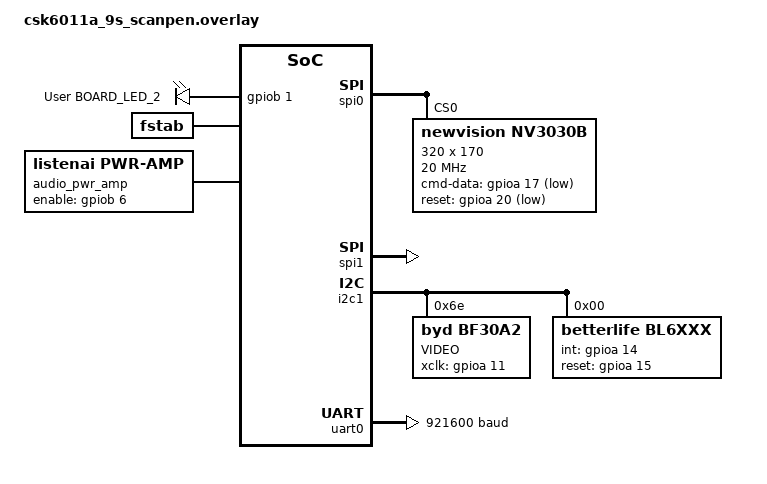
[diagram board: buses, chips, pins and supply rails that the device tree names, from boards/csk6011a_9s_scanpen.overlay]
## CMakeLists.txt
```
cmake_minimum_required(VERSION 3.20.0)
# Copyright (c) 2018 Nordic Semiconductor ASA
# Copyright (c) 2019 Linaro Limited
#
# SPDX-License-Identifier: Apache-2.0
#
#set(ZEPHYR_EXTRA_MODULES $ENV{ZEPHYR_BASE}/../modules/lib/sof_host)

if("${BOARD}" STREQUAL "csk6_tester" OR "${BOARD}" STREQUAL "csk6002_c3_nano"  OR "${BOARD}" STREQUAL "csk6002_9s_nano" OR "${BOARD}" STREQUAL "csk6012_9s_scanpen")
  set(BUILD_DSP_FIRMWARE OFF)
  find_package(Zephyr REQUIRED HINTS $ENV{ZEPHYR_BASE})
  message(INFO " ${BOARD} compile as Master in this sample")
  target_sources(app PRIVATE src/main.c)
  add_subdirectory(./src)
  zephyr_compile_options(-g3 -gdwarf-2)
  add_subdirectory(lisa_hal)
  add_subdirectory(scanpen_lisa/lisa_os)
  add_subdirectory(scanpen_lisa/lisa_net)
  # add_subdirectory(scanpen_lisa/unit_test)
  add_subdirectory(scanpen_lisa/scanpen_sdk)
  # add_subdirectory(scanpen_lisa/scanpen_app)
  # zephyr_compile_options(-fno-short-enums)
  #zephyr_ld_options(-fno-short-enums)
endif()


if(BUILD_DSP_FIRMWARE)

  set(REMOTE_ZEPHYR_DIR ${CMAKE_CURRENT_BINARY_DIR}/sof-dsp-prefix/src/sof-dsp-build/zephyr)

  if("${BOARD}" STREQUAL "csk6_tester" OR "${BOARD}" STREQUAL "csk6002_c3_nano"  OR "${BOARD}" STREQUAL "csk6002_9s_nano" OR "${BOARD}" STREQUAL "csk6012_9s_scanpen")
    set(BOARD_REMOTE "ls_adsp_csk6")
  else()
    message(FATAL_ERROR "${BOARD} was not supported for this sample")
  endif()

  project(sof-dsp)

  enable_language(C ASM)

  #target_sources(app PRIVATE src/load_fw.c src/mem_image_store.c src/platform_info.c src/zynqmp_csk6_rproc_example.c )

  include(ExternalProject)

  set(ENV{XCC_USE_CLANG} "1")
  set(ENV{ZEPHYR_TOOLCHAIN_VARIANT} "xcc")

  ExternalProject_Add(
    sof_remote
    SOURCE_DIR ${APPLICATION_SOURCE_DIR}/remote
    INSTALL_COMMAND ""      # This particular build system has no install command
    CMAKE_CACHE_ARGS -DBOARD:STRING=${BOARD_REMOTE}
    BUILD_BYPRODUCTS "${REMOTE_ZEPHYR_DIR}/${KERNEL_BIN_NAME}"
    # NB: Do we need to pass on more CMake variables?
    BUILD_ALWAYS True
  )

  unset(ENV{XCC_USE_CLANG})
  unset(ENV{ZEPHYR_TOOLCHAIN_VARIANT})
  target_include_directories(app PRIVATE ${CMAKE_CURRENT_SOURCE_DIR} ./src) 

endif()

zephyr_code_relocate($ENV{ZEPHYR_BASE}/drivers/dma/dma_csk6.c ITCM_TEXT)
zephyr_code_relocate($ENV{ZEPHYR_BASE}/../modules/hal/listenai/csk6/drivers/cm33/dma.c ITCM_TEXT)
zephyr_code_relocate($ENV{ZEPHYR_BASE}/drivers/video/bf30a2.c ITCM_TEXT)
```

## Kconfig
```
# Private config options for load sencond core firmware app

# SPDX-License-Identifier: Apache-2.0

# Workaround for not being able to have commas in macro arguments

DT_CHOSEN_Z_FLASH_SYSFS_STORAGE := zephyr,flash_sysfs_storage
DT_CHOSEN_Z_FLASH_CONTROLLER := zephyr,flash_controller
DT_CHOSEN_Z_INN_FLASH := zephyr,flash
DT_CHOSEN_Z_IPC_SHM := zephyr,ipc_shm
DT_CHOSEN_Z_PSRAM_AP := zephyr,psramap

if DISK_DRIVER_FLASH

	config DISK_FLASH_START
		default "$(dt_chosen_reg_addr_hex,$(DT_CHOSEN_Z_FLASH_SYSFS_STORAGE))"

	config DISK_FLASH_DEV_NAME
		default "$(dt_chosen_label,$(DT_CHOSEN_Z_FLASH_CONTROLLER))"

	config DISK_VOLUME_SIZE
		default "$(dt_chosen_reg_size_hex,$(DT_CHOSEN_Z_FLASH_SYSFS_STORAGE))"


	config DISK_FLASH_MAX_RW_SIZE
		default 4096
		#default $(dt_node_int_prop_hex,$(DT_CHOSEN_Z_INN_FLASH),erase-block-size)

	config DISK_FLASH_ERASE_ALIGNMENT
		default 0x1000
		#default "$(dt_node_int_prop_hex,$(DT_CHOSEN_Z_INN_FLASH),erase-block-size)"

	config DISK_ERASE_BLOCK_SIZE
		default 0x1000
		#default "$(dt_node_int_prop_hex,$(DT_CHOSEN_Z_INN_FLASH),erase-block-size)"
endif


#SOF IPC MEMORY CONFIG
config SOF_IPC_SHM_BASE_ADDRESS
	default "$(dt_chosen_reg_addr_hex,$(DT_CHOSEN_Z_IPC_SHM))"

config SOF_IPC_SHM_SIZE
	default "$(dt_chosen_reg_size_hex,$(DT_CHOSEN_Z_IPC_SHM))"
	help
	  This option specifies size of the memory region to be used
	  for the SOF IPC shared memory

config PSRAMAP_BASE_ADDRESS
	hex 
	default "$(dt_chosen_reg_addr_hex,$(DT_CHOSEN_Z_PSRAM_AP))"

config PSRAMAP_SIZE
	hex
	default "$(dt_chosen_reg_size_hex,$(DT_CHOSEN_Z_PSRAM_AP))"
	
menu "Example Configuration"

    config EXAMPLE_WIFI_SSID
        string "WiFi SSID"
        default "wifi_ssid"

    config EXAMPLE_WIFI_PASSWORD
        string "WiFi password"
        default "wifi_password"

endmenu


config LISA_HEAP_ARENA_SIZE
	int "Size of the lisa mem malloc arena"
	default 0
	help
	  Indicate the size in bytes of the memory arena used for
	  lisa_mem's malloc() implementation.

source "Kconfig.zephyr"
```

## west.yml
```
manifest:
  remotes:
    - name: listenai
      url-base: https://cloud.listenai.com/scanpen/csk6/sdk
  projects:
    - name: zephyr
      remote: listenai
      revision: 28948c137231ab44253a2e729aa4dbc6e8312f28
      clone-depth: 1
      path: zephyr
      import: true
    - name: lisa_hal_offline
      remote: listenai
      revision: 8da4e160b43e1f5b63ab4238217c529f7e375c9b
      path: app/lisa_hal
    - name: scanpen_lisa 
      remote: listenai
      revision: 846b871bfbc017d22d0a4b19ea70b61c978e8d3b
      path: app/scanpen_lisa
    
```

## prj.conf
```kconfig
CONFIG_PRINTK=y
CONFIG_DEBUG=y
CONFIG_LOG=y
CONFIG_LOG_MODE_IMMEDIATE=y
#CONFIG_LOG_BUFFER_SIZE=1024
# CONFIG_LOG_STRDUP_MAX_STRING=128
# CONFIG_LOG_STRDUP_BUF_COUNT=64
CONFIG_LOG_DETECT_MISSED_STRDUP=n
CONFIG_LOG_BACKEND_SHOW_COLOR=y
CONFIG_LOG_BACKEND_FORMAT_TIMESTAMP=y
CONFIG_LOG_BACKEND_UART=y
CONFIG_LOG_BACKEND_UART_OUTPUT_TEXT=y
CONFIG_GPIO=y
CONFIG_MAIN_STACK_SIZE=4096
CONFIG_HEAP_MEM_POOL_SIZE=120000

#libc配置
CONFIG_NEWLIB_LIBC_FLOAT_PRINTF=y
CONFIG_NEWLIB_LIBC=y
CONFIG_NEWLIB_LIBC_FLOAT_SCANF=y

#psram init 
CONFIG_CSK6_PSRAM=y
CONFIG_TEST_RANDOM_GENERATOR=y

#file system
#CONFIG_DISK_DRIVER_FLASH=y
CONFIG_FLASH=y
CONFIG_FLASH_MAP=y
CONFIG_FILE_SYSTEM=y
#CONFIG_FS_FATFS_CODEPAGE=936
#CONFIG_FS_FATFS_LFN=y
#CONFIG_FS_FATFS_MAX_LFN=255
#CONFIG_FS_FATFS_LFN_MODE_BSS=y


#usb mass storage
#CONFIG_USB_DEVICE_STACK=y
#CONFIG_USB_DEVICE_PRODUCT="Zephyr DFU sample"
#CONFIG_USB_MASS_STORAGE=y
#CONFIG_MASS_STORAGE_STACK_SIZE=4096
#CONFIG_MASS_STORAGE_DISK_NAME="NAND"
CONFIG_SYSTEM_WORKQUEUE_STACK_SIZE=8192

#CONFIG_USB_DRIVER_LOG_LEVEL_ERR=y
#CONFIG_USB_DEVICE_LOG_LEVEL_ERR=y
#CONFIG_USB_MASS_STORAGE_LOG_LEVEL_ERR=y
#CONFIG_USB_DRIVER_LOG_LEVEL_ERR=y

#usb cdc
#CONFIG_UART_LINE_CTRL=y
#CONFIG_USB_CDC_ACM_RINGBUF_SIZE=4096
#CONFIG_USB_CDC_ACM_LOG_LEVEL_ERR=y

#usb dfu
# CONFIG_USB_DFU_CLASS=y
# CONFIG_IMG_MANAGER=y
# CONFIG_IMG_BLOCK_BUF_SIZE=4096
#CONFIG_BOOTLOADER_MCUBOOT=y

#Fixd for WinUSB driver install.
#CONFIG_USB_DEVICE_VID=0x2FE3
#CONFIG_USB_DEVICE_PID=0x200

#sof
CONFIG_SOF_HOST=y
CONFIG_AVF_DEBUG_LEVEL=2
CONFIG_AVF_STREAM_SVR_DEBUG=n
#CONFIG_AVF_LOG_LEVEL_ERR=y
#CONFIG_AVF_USE_FS_FATFS=y
#CONFIG_FAT_FILESYSTEM_ELM=y
CONFIG_AVF_USE_FS_LITTLEFS=y
CONFIG_FILE_SYSTEM_LITTLEFS=y
CONFIG_POSIX_MAX_FDS=16
CONFIG_AVF_MODULES_VIDEO_CAPTURE=y
CONFIG_AVF_MODULES_ALG_OCR=y
CONFIG_AVF_MODULES_ALG_TTS=y
CONFIG_AVF_MODULES_ALG_TRANSLATE=y

CONFIG_AVF_DSP_XIP=y
CONFIG_AVF_DSP_RUN_ADDRESS=0x68460000
#sof example usr lisa heap 96k
CONFIG_LISA_HEAP_ARENA_SIZE=820224
#CONFIG_AVF_EXAMPLE=y
#CONFIG_AVF_SHELL=y

#IPM
CONFIG_IPM=y

#shell
CONFIG_SHELL_ARGC_MAX=16
CONFIG_SHELL=y

#network-wifi
CONFIG_WIFI=n
CONFIG_CSK_WIFI_XR819S=n
CONFIG_CSK_WIFI_STATION=y
CONFIG_NET_L2_ETHERNET=y
#networking
CONFIG_NETWORKING=y
CONFIG_NET_DHCPV4=y
CONFIG_NET_IPV4=y
CONFIG_NET_TCP=y
CONFIG_NET_SOCKETS=y
CONFIG_NET_SOCKETS_CONNECT_TIMEOUT=3000
CONFIG_NET_SOCKETS_POSIX_NAMES=y
CONFIG_NET_MGMT=y
CONFIG_NET_MGMT_EVENT=y
CONFIG_NET_MGMT_EVENT_STACK_SIZE=2048
CONFIG_NET_TCP_WORKQ_STACK_SIZE=2048
CONFIG_NET_RX_STACK_SIZE=2048
CONFIG_NET_TX_STACK_SIZE=2048
CONFIG_NET_PKT_RX_COUNT=16
CONFIG_NET_PKT_TX_COUNT=16
CONFIG_NET_BUF_RX_COUNT=32
CONFIG_NET_BUF_TX_COUNT=32
CONFIG_NET_CONTEXT_NET_PKT_POOL=y

CONFIG_DNS_RESOLVER=y
CONFIG_DNS_SERVER_IP_ADDRESSES=y
CONFIG_DNS_SERVER1="8.8.8.8"

CONFIG_SYSTEM_WORKQUEUE_PRIORITY=-1
CONFIG_INIT_STACKS=y

# Network debug config
# CONFIG_NET_LOG=y

# HTTP & Websocket
CONFIG_HTTP_CLIENT=y
CONFIG_WEBSOCKET_CLIENT=n

# TLS configuration
CONFIG_MBEDTLS=y
CONFIG_MBEDTLS_BUILTIN=y
CONFIG_MBEDTLS_ENABLE_HEAP=y
CONFIG_MBEDTLS_HEAP_SIZE=4096
CONFIG_MBEDTLS_SSL_MAX_CONTENT_LEN=2048

# to enable TLS
CONFIG_NET_SOCKETS_SOCKOPT_TLS=y
CONFIG_NET_SOCKETS_TLS_MAX_CONTEXTS=10

# ListenAI moudle support
# zephyr System abstraction layer for other rtos, like freertos
CONFIG_ZPORT_SAL=y
# sal port to esp
CONFIG_ZPORT_ESP_TCP=y
CONFIG_ZPORT_ESP_HTTP=y
CONFIG_ZPORT_ESP_WS=y
CONFIG_ZPORT_ESP_ADF=y
# esp http & websocket
CONFIG_ZE_TCP_TRANSPORT=y
CONFIG_ZE_TCP_TRANSPORT_ENABLE_SSL=y
CONFIG_ZE_HTTP_CLIENT=y
CONFIG_ZE_HTTP_CLIENT_ENABLE_HTTPS=y
CONFIG_ZE_WEBSOCKET_CLIENT=y
CONFIG_BASE64=y
# esp adf - pipeline
CONFIG_ZE_ADF=y
CONFIG_ZE_ADF_HTTP_STREAM_ENABLE=y
CONFIG_ZE_ADF_FS_STREAM_ENABLE=y
CONFIG_ZE_ADF_MEMORY_STREAM_ENABLE=y
CONFIG_ZE_ADF_AVF_STREAM_ENABLE=y
# lisa player
#CONFIG_LISA_PLAYER=y
#CONFIG_LISA_PLAYER_AUDIO_STRCASECMP_ENABLE=y

# Custom config for example
#CONFIG_LISA_PLAYER_SHELL_ENABLE=y
#CONFIG_LISA_PLAYER_SHELL_DEFINE_FILE="/NAND:/{{YOUR_FILE_NAME}}.wav"
# setup local http_server in ./temp/ folder:
# Linux: export LISA_ZEP_EXEC=1 && lisa zep exec python -m http.server 8080
# Windows: set LISA_ZEP_EXEC=1 && lisa zep exec python -m http.server 8080
# 打开 http://127.0.0.1:8080
#CONFIG_LISA_PLAYER_SHELL_DEFINE_URL="http://{{YOUR_PC_IP}}:8080/fdf7ea5d44626d0319e2fac116019d4af.wav"

# config wifi
CONFIG_EXAMPLE_WIFI_SSID="iflytek-yycs"
CONFIG_EXAMPLE_WIFI_PASSWORD="iflytekyuyin"


# Enable Testing

# shell: ze_http_client test_start
CONFIG_ZE_HTTP_CLIENT_TEST_SHELL=y

# shell: ze_websocket_client test_start
CONFIG_ZE_WEBSOCKET_CLIENT_TEST_SHELL=y
# websocket server test paltform: http://www.easyswoole.com/wstool.html
CONFIG_ZE_WEBSOCKET_CLIENT_TEST_URI="ws://82.157.123.54:9010/ajaxchattest"

#shell
CONFIG_SHELL_ARGC_MAX=16
CONFIG_SHELL=y

#cache
CONFIG_CACHE_MANAGEMENT=y

# mcumgr
CONFIG_MCUMGR=y
# Required by the `taskstat` command.
CONFIG_THREAD_MONITOR=y
# Enable statistics and statistic names.
CONFIG_STATS=y
CONFIG_STATS_NAMES=y
# Enable most core commands.
# CONFIG_MCUMGR_CMD_IMG_MGMT=y
CONFIG_MCUMGR_CMD_OS_MGMT=y
CONFIG_MCUMGR_CMD_STAT_MGMT=y
CONFIG_MCUMGR_CMD_FS_MGMT=y
# Enable the shell mcumgr transport.
CONFIG_MCUMGR_SMP_SHELL=y
CONFIG_SHELL_LOG_BACKEND=n
# Enable the UDP mcumgr transports.
# CONFIG_MCUMGR_SMP_UDP=y
# CONFIG_MCUMGR_SMP_UDP_IPV4=y
# CONFIG_MCUMGR_SMP_UDP_IPV6=y
# CONFIG_NET_CONNECTION_MANAGER=y
# CONFIG_NET_BUF_USER_DATA_SIZE=24


# video
CONFIG_SPI=y
CONFIG_I2C=y
CONFIG_DMA=y
CONFIG_PWM=y
CONFIG_VIDEO=y
CONFIG_VIDEO_BF30A2=y
# frame datas will be output to sharemem.
# CONFIG_BF30A2_UNUSED_DEQUEUE=y
# CONFIG_BF30A2_DECODE_TEST=y
CONFIG_VIDEO_BUFFER_POOL_SZ_MAX=25600
# CONFIG_SYS_CLOCK_TICKS_PER_SEC=1000
CONFIG_SCHED_MULTIQ=y
CONFIG_ZERO_LATENCY_IRQS=y

CONFIG_SYS_CLOCK_TICKS_PER_SEC=1000
CONFIG_TICKLESS_KERNEL=n

#CONFIG_USB_DC_CSK6_THREAD_STACK_SIZE=1024


#CONFIG_KERNEL_MEM_POOL=y
#CONFIG_STDOUT_CONSOLE=n

CONFIG_VIDEO_BUFFER_POOL_SZ_MAX=25600
CONFIG_VIDEO_BUFFER_POOL_NUM_MAX=2
# CONFIG_VIDEO_CUSTOM_SECTION=y
# CONFIG_VIDEO_CUSTOM_SECTION_NAME=".psram_section"
CONFIG_CSK6_PSRAM=y

CONFIG_ASSERT=y
CONFIG_ASSERT_LEVEL=2

CONFIG_CODE_DATA_RELOCATION=y
# CONFIG_CODE_DATA_RELOCATION_SRAM=y

# CONFIG_THREAD_ANALYZER=y
# CONFIG_THREAD_ANALYZER_USE_PRINTK=y
# CONFIG_THREAD_ANALYZER_AUTO=y
# CONFIG_THREAD_ANALYZER_AUTO_INTERVAL=5
# CONFIG_THREAD_RUNTIME_STATS=y
# CONFIG_THREAD_NAME=y
CONFIG_ZERO_LATENCY_IRQS=y
CONFIG_SPIN_VALIDATE=y
CONFIG_DYNAMIC_INTERRUPTS=y
CONFIG_NOCACHE_MEMORY=y

# CONFIG_VIDEO_CUSTOM_SECTION=y
# CONFIG_VIDEO_CUSTOM_SECTION_NAME=".psram_section"
```

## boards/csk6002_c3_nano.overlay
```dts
/*
 * Copyright (c) 2021 listenai Intelligent Technology (anhui) Co., Ltd.
 *
 * SPDX-License-Identifier: Apache-2.0
 */
/delete-node/ &storage_partition;

/ {
	chosen {
		/*
		 * shared memory reserved for the inter-processor communication
		 */
		zephyr,ipc_shm = &sramx1;
		zephyr,ipc = &mailbox0;
		zephyr,flash_sysfs_storage = &filesystem_part;
		zephyr,flash_controller = &flash;
		zephyr,uart-mcumgr = &uart0;
		zephyr,lisa_heap = &psram_region1;
	};
	sramx1:memory@30700000{
		compatible = "mmio-sram";
		reg = <0x30700000 0x100000>;
	};
	psram_region1:memory@30600000{
		compatible = "mmio-sram";
		reg = <0x30600000 0x100000>;
	};
	fstab {
		compatible = "zephyr,fstab";
		lfs1: lfs1 {
			compatible = "zephyr,fstab,littlefs";
			mount-point = "/lfs1";
			partition = <&filesystem_part>;
			automount ;
			no-format;
			read-size = <16>;
			prog-size = <16>;
			cache-size = <64>;
			lookahead-size = <32>;
			block-cycles = <512>;
		};
	};

    pwmleds {
		compatible = "pwm-leds";
		green_pwm_led: green_pwm_led {
			pwms = <&pwm4 4 PWM_POLARITY_NORMAL>;
			label = "User BOARD_LED_2 - PWM0";
		};
	};

	gpio_keys {
user_button_0: button_0 {
				   label = "User SW0";
				   gpios = < &gpiob 0x5 0x0 >;
			   };
	};

};


&flash0 {
	partitions {
		compatible = "fixed-partitions";
#address-cells = <1>;
#size-cells = <1>;
filesystem_part: partition@160000 {
					 label = "filesystem";
					 reg = <0x160000 0x00600000>;
				 };
				 /*
				  * Reserve the final 640 KiB for file system partition
		 */
		storage_partition: partition@760000 {
			label = "storage";
			reg = <0x760000 0x00a0000>;
		};


	};
};

&zephyr_udc0 {
	cdc_acm_uart0 {
		compatible = "zephyr,cdc-acm-uart";
		label = "CDC_ACM_0";
	};
};

&gpt0 {
	status = "okay";

    pwm5: pwm5 {
        status = "disabled";
    };

	pwm4: pwm4 {
        pinmuxs = <&pinmuxa 4 11>;
        clock-prescaler = <1>;
        status = "okay";
    };
};

&spi0 {
    status = "okay";
    spi-max-frequency = <25000000>;
};

&spi1 {
    status = "disabled";
};

&i2c0 {
        status = "okay";
        pinmuxs = <&pinmuxb 0 8>, <&pinmuxb 1 8>;
        pinmux-names = "SCL", "SDA";

        bf30a2: bf30a2@6e {
            compatible = "byd,bf30a2";
            status = "okay";
            label = "VIDEO";
            reg = <0x6e>;
            pd-gpios = <&gpioa 1 0>;
            pwr-gpios = <&gpioa 5 0>;
            product-id = <0x3b02>;
            spi = <&spi0>;
            xclk-pwm = <&pwm4>;
            xclk-freq = <12500>;
            csk6-spec;
    };
};

&i2c1 {
    status = "disabled";
};

&uart0 {
    current-speed = <115200>;
};

&uart1 {
    status = "disabled";
    current-speed = <115200>;
	pinmuxs = < &pinmuxa 8 3>, < &pinmuxa 9 3>;
};
```

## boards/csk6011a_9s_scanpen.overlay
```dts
/ {
	chosen {
		/*
		 * shared memory reserved for the inter-processor communication
		 */
		zephyr,ipc_shm = &psram_share;
		zephyr,ipc = &mailbox0;
		zephyr,flash_sysfs_storage = &filesystem_part;
		zephyr,flash_controller = &flash;
		zephyr,uart-mcumgr = &uart0;
		zephyr,psramap = &psram_ap;
		/*
		 *zephyr,code-partition = &slot0_partition;
		 */
		/*
		 *zephyr,lisa_heap = &psram_region1;
		 */
	};

	 aliases {
                lcdbacklight0 = &board_led_2;
		 avf-audio-pwr-amp = &pwr_amp;
	 };
         leds {
		compatible = "gpio-leds";
		board_led_2: board_led_2 {
				gpios = <&gpiob 1 0>;
				label = "User BOARD_LED_2";
		};
	 };


	fstab {
		compatible = "zephyr,fstab";
		lfs1: lfs1 {
			compatible = "zephyr,fstab,littlefs";
			mount-point = "/lfs1";
			partition = <&filesystem_part>;
			automount ;
			no-format;
			read-size = <16>;
			prog-size = <16>;
			cache-size = <64>;
			lookahead-size = <32>;
			block-cycles = <512>;
		};
	};

	pwr_amp:audio_pwr_amp{
		 compatible = "listenai,pwr-amp";
		 enable-gpios = <&gpiob 6 0>;
		 label = "audio_pwr_amp";
		 status = "okay";
	 };

	 gpio,user {
		compatible = "listenai,csk-gpio-user";
		// 电源开关
		// pwrlock: powerlock {
		// 		gpios = <&gpiob 5 1>;
		// 		label = "power_lock";
		// };
		// LCD背光控制
		// pwm1pin: pwm1pin {
		// 		gpios = <&gpioa 5 0>;
		// 		label = "power_lock";
		// };
		// 开关机&翻译开关, ADC 电平检测
		fy_key: fykey {
				gpios = <&gpiob 5 1>;
				label = "power_lock";
		};

		// 按压开关
		scan_key: scankey {
			gpios = <&gpiob 4 1>;
			label = "scan_key";
		};


};

};


&flash0 {
	reg = <0x18000000 DT_SIZE_M(32)>;
	write-block-size = <4>;
	partitions {
		compatible = "fixed-partitions";
		#address-cells = <1>;
		#size-cells = <1>;
        /* filesystem: 2.625MB */
        filesystem_part: partition@260000 {
					label = "filesystem";
					reg = <0x260000 0x2a0000>;
			};
	};
};

// &gpt0 {
// 	status = "okay";

// 	pwm2: pwm2 {
//         clock-prescaler = <1>;
//         status = "okay";
//         pinctrl-0 = <&pinctrl_pwm2_default>;
//         pinctrl-names = "default";
//     };
// };


&csk6011a_9s_scanpen_pinctrl{
                /* UART alternate function */
                pinctrl_uart0_rx_default: uart0_rx_default{
                        pinctrls = <&pinmuxb 8 2>;
                        // pinctrls = <&pinmuxb 10 2>;

                };
                
                pinctrl_uart0_tx_default: uart0_tx_default{
                        pinctrls = <&pinmuxb 9 2>;
                        // pinctrls = <&pinmuxb 11 2>;

                };
                
                pinctrl_i2c1_scl_default: i2c1_scl_default{
                        pinctrls = <&pinmuxa 13 9>;
                        // pinctrls = <&pinmuxb 2 8>;
                };
                
                pinctrl_i2c1_sda_default: i2c1_sda_default{
                        pinctrls = <&pinmuxa 12 9>;
                        // pinctrls = <&pinmuxb 3 8>;
                };    

                pinctrl_spi0_sclk_default: spi0_sclk_default {
                        pinctrls = < &pinmuxa 19 6 >;
                        // pinctrls = < &pinmuxa 15 6 >;
                };
                pinctrl_spi0_mosi_default: spi0_mosi_default {
                        pinctrls = < &pinmuxa 18 6 >;
                        // pinctrls = < &pinmuxa 10 6 >;
                };
                pinctrl_spi0_miso_default: spi0_miso_default {
                        // pinctrls = < &pinmuxa 17 6 >;
                };
                pinctrl_spi0_cs_default: spi0_cs_default {
                        pinctrls = < &pinmuxa 16 6 >;
                        // pinctrls = < &pinmuxa 12 6 >;
                }; 
};

&spi0 {
        status = "okay";
        pinctrl-0 = <&pinctrl_spi0_sclk_default &pinctrl_spi0_mosi_default &pinctrl_spi0_cs_default>; 
        pinctrl-names = "default";

        //st7789v@0 {
		nv3030b@0 {
                //compatible = "sitronix,st7789v";
                //label = "ST7789V";
				compatible = "newvision,nv3030b";
				label = "NV3030B";
                status = "okay";
                spi-max-frequency = <20000000>;
                reg = <0>;
                cmd-data-gpios = <&gpioa 17 1>;
                // cmd-data-gpios = <&gpioa 14 1>;
                reset-gpios = <&gpioa 20 1>;
                // reset-gpios = <&gpiob 6 1>;
                width = <320>;
                height = <170>;
                x-offset = <0>;
                y-offset = <35>;
                // reg:0xBB
                vcom = <0x1e>;
                // reg:0xB7
                gctrl = <0x35>;
                // reg:0xC3
                vrhs = <0x0b>;
                // reg:0xC4
                vdvs = <0x20>;
                // reg:0x36
                mdac = <0xA3>;
                // reg:0x26
                gamma = <0x01>;
                // reg:0x3a
                colmod = <0x05>;
                // reg:0xc0
                lcm = <0x2c>;
                // reg:0xb2
                porch-param = [0c 0c 00 33 33];
                // reg:0xDF
                cmd2en-param = [5a 69 02 01];
                // reg:0xD0
                pwctrl1-param = [a4 a1];
                // reg:0xE0
                pvgam-param = [d0 06 0b 07 07 24 2e 32 46 37 13 13 2d 33];
                // reg:0xE1
                nvgam-param = [d0 02 06 09 08 05 29 44 42 38 14 14 2a 30];
                // reg:b0
                ram-param = [00 F0];
                // reg:b1
                rgb-param = [CD 08 14];
        };
};

&spi1 {
        status = "okay";
        spi-max-frequency = <100000000>;
        pinctrl-0 = <&pinctrl_spi1_sclk_default &pinctrl_spi1_mosi_default &pinctrl_spi1_cs_default>; 
            pinctrl-names = "default";
};


&i2c1 {
        status = "okay";
        pinctrl-0 = <&pinctrl_i2c1_scl_default &pinctrl_i2c1_sda_default>; 
        pinctrl-names = "default";

        bf30a2: bf30a2@6e {
                compatible = "byd,bf30a2";
                status = "okay";
                label = "VIDEO";
                reg = <0x6e>;
                xclk-gpios = <&gpioa 11 0>;
                product-id = <0x3b02>;
                spi = <&spi1>;
        };

        bl6xxx@0 {
                compatible = "betterlife,bl6xxx";
                reg = <0>;
                label = "BL6XXX";
                status = "okay";
                int-gpios = <&gpioa 14 0>;
                reset-gpios = <&gpioa 15 0>;
                // int-gpios = <&gpioa 3 0>;
                // reset-gpios = <&gpioa 2 0>;
        };
};

&uart0 {
	current-speed = <921600>;
	status = "okay";
};
```

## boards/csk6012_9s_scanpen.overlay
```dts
/*
 * Copyright (c) 2021 listenai Intelligent Technology (anhui) Co., Ltd.
 *
 * SPDX-License-Identifier: Apache-2.0
 */
/delete-node/ &storage_partition;

/ {
	chosen {
		/*
		 * shared memory reserved for the inter-processor communication
		 */
		zephyr,ipc_shm = &psram_share;
		zephyr,ipc = &mailbox0;
		zephyr,flash_sysfs_storage = &filesystem_part;
		zephyr,flash_controller = &flash;
		zephyr,uart-mcumgr = &uart0;
		zephyr,psramap = &psram_ap;
		/*
		 *zephyr,code-partition = &slot0_partition;
		 */
		/*
		 *zephyr,lisa_heap = &psram_region1;
		 */
	};

	 aliases {
		 avf-audio-pwr-amp = &pwr_amp;
	 };


	fstab {
		compatible = "zephyr,fstab";
		lfs1: lfs1 {
			compatible = "zephyr,fstab,littlefs";
			mount-point = "/lfs1";
			partition = <&filesystem_part>;
			automount ;
			no-format;
			read-size = <16>;
			prog-size = <16>;
			cache-size = <64>;
			lookahead-size = <32>;
			block-cycles = <512>;
		};
	};

	pwr_amp:audio_pwr_amp{
		 compatible = "listenai,pwr-amp";
		 enable-gpios = <&gpioa 0 1>;
		 label = "audio_pwr_amp";	
		 status = "okay";
	 };

};

 
&flash0 {
	reg = <0x18000000 DT_SIZE_M(32)>;
	write-block-size = <4>;
	partitions {
		compatible = "fixed-partitions";
		#address-cells = <1>;
		#size-cells = <1>;
        /* filesystem: 2.625MB */
        filesystem_part: partition@260000 {
					label = "filesystem";
					reg = <0x260000 0x200000>;
			};
	};
};

&i2c0 {
        status = "okay";
        pinctrl-0 = <&pinctrl_i2c0_scl_default &pinctrl_i2c0_sda_default>; 
        pinctrl-names = "default";

        bf30a2: bf30a2@6e {
            compatible = "byd,bf30a2";
            status = "okay";
            label = "VIDEO";
            reg = <0x6e>;
            pd-gpios = <&gpioa 20 0>;
            pwr-gpios = <&gpioa 5 0>;
            product-id = <0x3b02>;
            spi = <&spi1>;
			xclk-gpios = <&gpioa 11 0>;
        };
};

&gpt0 {
	status = "okay";

	pwm2: pwm2 {
        clock-prescaler = <1>;
        status = "okay";
        pinctrl-0 = <&pinctrl_pwm2_default>; 
        pinctrl-names = "default";
    };
};

&spi0 {
	    status = "okay";
		    spi-max-frequency = <25000000>;
};

&spi1 {
    status = "okay";
    spi-max-frequency = <100000000>;
    pinctrl-0 = <&pinctrl_spi1_sclk_default &pinctrl_spi1_mosi_default &pinctrl_spi1_cs_default>; 
	pinctrl-names = "default";
};


&csk6012_9s_scanpen_pinctrl {

                pinctrl_pwm2_default: pwm2_default{
                    pinctrls = <&pinmuxb 6 11>;
                };

                pinctrl_i2c0_scl_default: i2c0_scl_default{
                        pinctrls = <&pinmuxb 2 8>;
                };
                
                pinctrl_i2c0_sda_default: i2c0_sda_default{
                        pinctrls = <&pinmuxb 3 8>;
                };

				pinctrl_spi1_sclk_default: spi1_sclk_default {
                    pinctrls = < &pinmuxb 0 7 >;
                };

                pinctrl_spi1_mosi_default: spi1_mosi_default {
                    pinctrls = < &pinmuxb 1 7 >;
                };

                pinctrl_spi1_miso_default: spi1_miso_default {
                    pinctrls = < &pinmuxa 20 7 >;
                };

                pinctrl_spi1_cs_default: spi1_cs_default {
                    pinctrls = < &pinmuxa 9 7 >;
                };
};

&uart0 {
	current-speed = <921600>;
	status = "okay";
};
```

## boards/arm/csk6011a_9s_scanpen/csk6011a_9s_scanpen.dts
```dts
/* SPDX-License-Identifier: Apache-2.0 */

/dts-v1/;
#include <csk/csk6.dtsi>
#include "csk6011a_9s_scanpen_pinctrl.dtsi"

/ {
        model = "csk6011a 9s scanpen";
        compatible = "csk,csk6011a_9s_scanpen";
        aliases {
                i2c-0 = &i2c0;
                i2c-1 = &i2c1;
                c-led = &camleds1;
                avf-audio-pwr-amp = &pwr_amp;
        };

        chosen {
                zephyr,console = &uart0;
                zephyr,shell-uart = &uart0;
                zephyr,sram = &sram0;
                zephyr,itcm = &itcm0;
                zephyr,flash = &flash0;
                zephyr,flash_controller = &flash;
                /* other chosen settings  for your hardware */

		zephyr,ipc_shm = &psram_share;
		zephyr,ipc = &mailbox0;
		zephyr,uart-mcumgr = &uart0;
        };

	gpio,user {
		compatible = "listenai,csk-gpio-user";
		fy_key: fykey {
			gpios = <&gpiob 4 1>;
			label = "fykey";
		};
                key_key: keykey {
			gpios = <&gpiob 5 1>;
			label = "keykey";
		};
	};

        leds {
                compatible = "gpio-leds";
                camleds1: cam_led_0 {
                        gpios = <&gpioa 10 0>;
                        label = "cam_led_0";
                };
        };

        wifi_module: xr819s {
                compatible = "wifi,xr819s";
                label = "WiFi module";
                dataready-gpios = <&gpioa 2 0>;
                reset-gpios = <&gpioa 6 0>;
                sdio-clk-gpios = <&gpioa 3 0>;
                sdio-cmd-gpios = <&gpioa 4 0>;
                sdio-dat0-gpios = <&gpioa 5 0>;
                status = "okay";
        };

        fstab {
                compatible = "zephyr,fstab";
                lfs1: lfs1 {
                        compatible = "zephyr,fstab,littlefs";
                        mount-point = "/lfs1";
                        partition = <&filesystem_part>;
                        read-size = <16>;
                        prog-size = <16>;
                        cache-size = <64>;
                        lookahead-size = <32>;
                        block-cycles = <512>;
                };
        };

        pwr_amp: audio_pwr_amp {
                compatible = "listenai,pwr-amp";
                enable-gpios = <&gpioa 0 0>;
                label = "audio_pwr_amp";
                status = "okay";
        };

        vbatt {
                compatible = "voltage-divider";
                io-channels = <&adc0 5>;
                output-ohms = <0>;
        };


        /*
         * Your board-specific hardware: buttons, LEDs, sensors, etc.
         */
};


&gpioa {
        status = "okay";
};

&gpiob {
        status = "okay";
};

&uart0 {
        pinctrl-0 = <&pinctrl_uart0_rx_default &pinctrl_uart0_tx_default>; 
        pinctrl-names = "default";
        current-speed = <921600>;
        status = "okay";
};

&uart1 {
        status = "disabled";
};

&uart2 {
        status = "disabled";
};

&spi0 {
        pinctrl-0 = <&pinctrl_spi0_sclk_default &pinctrl_spi0_mosi_default &pinctrl_spi0_miso_default &pinctrl_spi0_cs_default>; 
        pinctrl-names = "default";
        status = "disabled";
};

&spi1 {
        status = "okay";
        spi-max-frequency = <100000000>;
        pinctrl-0 = <&pinctrl_spi1_sclk_default &pinctrl_spi1_mosi_default &pinctrl_spi1_cs_default>;
        pinctrl-names = "default";
};

&i2c0 {
        status = "disabled";
};


&i2c1 {
        status = "okay";
        pinctrl-0 = <&pinctrl_i2c1_scl_default &pinctrl_i2c1_sda_default>;
        pinctrl-names = "default";

        bf30a2: bf30a2@6e {
            compatible = "byd,bf30a2";
            status = "okay";
            label = "VIDEO";
            reg = <0x6e>;
            xclk-gpios = <&gpioa 11 0>;
            product-id = <0x3b02>;
            spi = <&spi1>;
        };
};

&gpt0 {
	status = "okay";
};



&mailbox0 {
	status = "okay";
};

&dma0 {
	dma-channels = <6>;
	status = "okay";
};

&rtc1 {
        status = "okay";
};

&flash0 {
        /*
         * For more information, see:
         * http: //docs.zephyrproject.org/latest/guides/dts/index.html#flash-partitions
         */
        reg = <0x18000000 DT_SIZE_M(32)>;
        write-block-size = <4>;
        partitions {
                compatible = "fixed-partitions";
                #address-cells = < 0x1 >;
                #size-cells = < 0x1 >;
                boot_partition: partition@0 {
                        label = "mcuboot";
                        reg = < 0x0 0x40000 >;
                        read-only;
                };
                slot0_partition: partition@40000 {
                        label = "image-0";
                        reg = < 0x40000 0x100000 >;
                };
                slot1_partition: partition@140000 {
                        label = "image-1";
                        reg = < 0x140000 0x100000 >;
                };
                scratch_partition: partition@240000 {
                        label = "image-scratch";
                        reg = < 0x240000 0x20000 >;
                };
                filesystem_part: partition@260000 {
                        label = "filesystem";
                        reg = < 0x260000 0x2a0000 >;
                        phandle = < 0x12 >;
                };
                hifi4_partition: partition@500000 {
                        label = "cp-image";
                        reg = < 0x500000 0x300000 >;
                };
                cutline_partition: partition@800000 {
                        label = "cutline";
                        reg = < 0x800000 0x80000 >;
                };
                ocr_partition: partition@880000 {
                        label = "ocr";
                        reg = < 0x880000 0x280000 >;
                };
                tts_partition: partition@b00000 {
                        label = "tts";
                        reg = < 0xb00000 0x480000 >;
                };
                trans_partition: partition@f80000 {
                        label = "trans";
                        reg = < 0xf80000 0x1000000 >;
                };
        };
};

&psram0 {
        reg = <0x30000000 DT_SIZE_M(8)>;
        #address-cells = <1>;
        #size-cells = <1>;

        /*psram for cp core slot: 6MB */
        psram_cp:psram_cp@30000000{             
                compatible = "listenai,csk6-psram-partition";
                reg = <0x30000000 0x600000>;
                status = "okay";
        };

        /*psram for ap core slot: 1MB */
        psram_ap: psram_ap@30600000 {
                compatible = "listenai,csk6-psram-partition";
                reg = <0x30600000 0x100000>;
                status = "okay";
        };

        /*psram for ap share with cp slot: 512KB */
        psram_share: psram_share@30700000 {
                compatible = "listenai,csk6-psram-partition";
                reg = <0x30700000 0x80000>;
                status = "okay";
        };
};

&wdt {
        status = "disabled";
};
```

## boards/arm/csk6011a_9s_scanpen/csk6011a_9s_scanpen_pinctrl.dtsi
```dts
/* SPDX-License-Identifier: Apache-2.0 */

/ {
        csk6011a_9s_scanpen_pinctrl:csk6011a_pinctrl{
                compatible = "listenai,csk-pinctrl";

                /* UART alternate function */
                pinctrl_uart0_rx_default: uart0_rx_default{
                        pinctrls = <&pinmuxb 8 2>;
                };
                
                pinctrl_uart0_tx_default: uart0_tx_default{
                        pinctrls = <&pinmuxb 9 2>;
                };

                pinctrl_uart1_rx_default: uart1_rx_default{
                };
                
                pinctrl_uart1_tx_default: uart1_tx_default{
                };

                pinctrl_uart2_rx_default: uart2_rx_default{
                };
                
                pinctrl_uart2_tx_default: uart2_tx_default{
                };

                pinctrl_uart3_rx_default: uart3_rx_default{
                };
                
                pinctrl_uart3_tx_default: uart3_tx_default{
                };

                /* I2C alternate function */
                pinctrl_i2c0_scl_default: i2c0_scl_default{ 
                };
                
                pinctrl_i2c0_sda_default: i2c0_sda_default{
                };

                pinctrl_i2c1_scl_default: i2c1_scl_default{
                        pinctrls = <&pinmuxa 13 9>;
                };
                
                pinctrl_i2c1_sda_default: i2c1_sda_default{
                        pinctrls = <&pinmuxa 12 9>;
                };

                /* SPIC alternate function */
                pinctrl_spi0_cs_default: spi0_cs_default{
                        pinctrls = <&pinmuxa 20 6>;
                };

                pinctrl_spi0_miso_default: spi0_miso_default{
                        pinctrls = <&pinmuxa 17 6>;
                };

                pinctrl_spi0_mosi_default: spi0_mosi_default{
                        pinctrls = <&pinmuxa 18 6>;
                };

                pinctrl_spi0_sclk_default: spi0_sclk_default{
                        pinctrls = <&pinmuxa 19 6>;
                };                

                pinctrl_spi1_sclk_default: spi1_sclk_default {
                    pinctrls = < &pinmuxa 8 7 >;
                };

                pinctrl_spi1_mosi_default: spi1_mosi_default {
                    pinctrls = < &pinmuxa 7 7 >;
                };

                pinctrl_spi1_cs_default: spi1_cs_default {
                    pinctrls = < &pinmuxa 9 7 >;
                };
                
                /* ADC alternate function */
                pinctrl_adc0_ch0_default: adc0_ch0_default{
                };
                
                pinctrl_adc0_ch1_default: adc0_ch1_default{
                };

                pinctrl_adc0_ch2_default: adc0_ch2_default{
                };

                /* PWM alternate function*/
                pinctrl_pwm0_default: pwm0_default{
                };

                pinctrl_pwm1_default: pwm1_default{
                };

                pinctrl_pwm2_default: pwm2_default{
                };

                pinctrl_pwm3_default: pwm3_default{
                };

                pinctrl_pwm4_default: pwm4_default{
                };

                pinctrl_pwm5_default: pwm5_default{
                };

                pinctrl_pwm6_default: pwm6_default{
                };

                pinctrl_pwm7_default: pwm7_default{
                };

        };
};
```

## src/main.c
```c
/*
 *
 * SPDX-License-Identifier: Apache-2.0
 */
#include <zephyr.h>
#include <device.h>
#include <devicetree.h>

extern void s_fs_mount(void);
extern void mcumgr_domain();
extern void sof_domain(void);
extern void network_domain(void);
extern void ocr_test_offline_start();
void main(void)
{
#ifdef CONFIG_SOF_HOST
	s_fs_mount();
#endif

/*Initialization of the SOF must be performed before wifi is enabled，
**because of heap space limitations,*/
#ifdef CONFIG_SOF_HOST
	sof_domain();
#endif


#ifdef CONFIG_WIFI
	network_domain();
#endif


#ifdef CONFIG_MCUMGR
	mcumgr_domain();
#endif

	ocr_test_offline_start();

	while (1) {
		k_msleep(1000);
	}
}
```

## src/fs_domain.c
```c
#include <zephyr.h>
#include <fs/fs.h>
#include <devicetree.h>
#if defined(CONFIG_AVF_USE_FS_LITTLEFS)
#include <fs/littlefs.h>
#include <storage/flash_map.h>

#elif defined(CONFIG_AVF_USE_FS_FATFS)
#include <ff.h>
#endif

#if(CONFIG_USB_DEVICE_STACK > 0)
#include <usb/usb_device.h>
#endif

#if defined(CONFIG_AVF_USE_FS_LITTLEFS) || defined(CONFIG_AVF_USE_FS_FATFS)

#if defined(CONFIG_AVF_USE_FS_LITTLEFS)
/* Matches LFS_NAME_MAX */
#define MAX_PATH_LEN 255
#define PARTITION_NODE DT_NODELABEL(lfs1)
#if DT_NODE_EXISTS(PARTITION_NODE)
FS_FSTAB_DECLARE_ENTRY(PARTITION_NODE);
struct fs_mount_t *p_g_fs_mount = &FS_FSTAB_ENTRY(PARTITION_NODE);
#else /* PARTITION_NODE */
#error "Please declare the region of the file system first"
#endif /* PARTITION_NODE */
#elif defined(CONFIG_AVF_USE_FS_FATFS)
#define FS_MOUNT_POINT CONFIG_AVF_FS_MOUNT_POINT
struct fs_mount_t *p_g_fs_mount = NULL;
static struct fs_mount_t fs_mount_p;
static FATFS s_fat_fs;

#endif

static void s_fs_show(struct fs_mount_t *mp)
{
	unsigned int id = (uintptr_t)mp->storage_dev;
	struct fs_statvfs sbuf;
	const struct flash_area *pfa;
	int rc;

	rc = fs_statvfs(mp->mnt_point, &sbuf);
	if (rc < 0) {
		printk("FAIL: statvfs: %d\n", rc);
		goto out;
	}

	printk("%s: bsize = %lu ; frsize = %lu ;"
	       " blocks = %lu ; bfree = %lu\n",
	       mp->mnt_point, sbuf.f_bsize, sbuf.f_frsize, sbuf.f_blocks, sbuf.f_bfree);

	struct fs_dir_t dir;

	fs_dir_t_init(&dir);

	rc = fs_opendir(&dir, mp->mnt_point);
	printk("%s opendir: %d\n", mp->mnt_point, rc);

	while (rc >= 0) {
		struct fs_dirent ent = { 0 };

		rc = fs_readdir(&dir, &ent);
		if (rc < 0) {
			break;
		}
		if (ent.name[0] == 0) {
			printk("End of files\n");
			break;
		}
		printk("  %c %zu %s\n", (ent.type == FS_DIR_ENTRY_FILE) ? 'F' : 'D', ent.size,
		       ent.name);
	}

	(void)fs_closedir(&dir);
	printk("%s closedir\n", mp->mnt_point);
out:
	return;
}

static int s_fs_init(void)
{
	struct fs_mount_t *mp;
	int rc;

#if defined(CONFIG_AVF_USE_FS_LITTLEFS)
	mp = p_g_fs_mount;
	/* Do not mount if auto-mount has been enabled */
#if !DT_NODE_EXISTS(PARTITION_NODE) ||                                                             \
	!(FSTAB_ENTRY_DT_MOUNT_FLAGS(PARTITION_NODE) & FS_MOUNT_FLAG_AUTOMOUNT)

	rc = fs_mount(mp);
	if (rc < 0) {
		printk("FAIL: mount id %" PRIuPTR " at %s: %d\n", (uintptr_t)mp->storage_dev,
		       mp->mnt_point, rc);
		return rc;
	}
	printk("%s mount: %d\n", mp->mnt_point, rc);
#else
	printk("%s automounted\n", mp->mnt_point);
#endif

#elif defined(CONFIG_AVF_USE_FS_FATFS)
	if (p_g_fs_mount != NULL) {
		printk("The mount point<%s> busy!\n", p_g_fs_mount->mnt_point);
		return -1;
	}
	p_g_fs_mount = &fs_mount_p;
	mp = p_g_fs_mount;
	memset(mp, 0, sizeof(struct fs_mount_t));
	mp->type = FS_FATFS;
	/*mp->flags |= FS_MOUNT_FLAG_NO_FORMAT;*/
	mp->fs_data = &s_fat_fs;
	mp->mnt_point = FS_MOUNT_POINT;
	rc = fs_mount(mp);
	if (rc < 0) {
		printk("FAIL: mount id %" PRIuPTR " at %s: %d\n", (uintptr_t)mp->storage_dev,
		       mp->mnt_point, rc);
		return rc;
	}
	printk("%s mount: %d\n", mp->mnt_point, rc);
#endif
	s_fs_show(mp);

	return 0;
}
#endif

void s_fs_mount(void)
{
	int ret;
//file system init
#if defined(CONFIG_AVF_USE_FS_LITTLEFS) || defined(CONFIG_AVF_USE_FS_FATFS)
	s_fs_init();
#else
	#error "Please define file system type!"
#endif

#if defined(CONFIG_AVF_USE_FS_FATFS)&&(CONFIG_USB_DEVICE_STACK > 0)
	ret = usb_enable(NULL);
	if (ret != 0) {
		printk("Failed to enable USB");
		return;
	}
#elif defined(CONFIG_AVF_USE_FS_LITTLEFS)
	if(0 != strcmp(CONFIG_AVF_FS_MOUNT_POINT,p_g_fs_mount->mnt_point)){
		__ASSERT(0,"The avf fs mount point error!");
	}
#endif
}
```

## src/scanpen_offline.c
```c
#include "kernel.h"
#include "sys_clock.h"
#include <lisa_log.h>
#include <lisa_thread.h>
#include <lisa_queue.h>
#include <lisa_semaphore.h>
#include <lisa_mem.h>

#include <zephyr.h>
#include <device.h>
#include <devicetree.h>
#include <drivers/video.h>

#include "tts_playback.h"

#include "lisa_buttons.h"
#include "lisa_vcapture.h"
#include "lisa_translate.h"
#include "lisa_tts.h"

//#include "lisa_evs_uuid.h"
#include <fs/fs.h>
#include <lisa_time.h>
#define TAG "scanpen_offline"


static lisa_semaphore_t *s_ocr_res_sema = NULL;
static lisa_thread_t *s_offline_recognize_thread = NULL;
static lisa_vcapture_handler_t *vcap_handler = NULL;
static lisa_translate_handler_t *trans_handler = NULL;
static lisa_tts_handler_t *tts_handler = NULL;
static volatile lisa_thread_t *s_cam2cp_thread = NULL;

static char ocr_result[1024] = {0};

static volatile uint32_t tts_done = 0;


typedef struct {
	volatile char *addr;
	volatile uint32_t frame_size;
	volatile uint32_t frame_cnt;
	volatile uint32_t w_pos;
	volatile uint32_t tag;
} __attribute__((aligned(32))) swap_block_ap_t;

typedef struct {
	volatile uint32_t r_pos;
} __attribute__((aligned(32))) swap_block_cp_t;

typedef struct {
	swap_block_ap_t ap_share;
	swap_block_cp_t cp_share;
} __packed frames_info_t;

typedef struct frame_info {
	uint32_t id;
	uint32_t sum;
} __attribute__((aligned(32))) frame_info_t;

Z_GENERIC_SECTION(.psram_section)
__attribute__((aligned(32),
	       used)) static char swp_frames[5][sizeof(frame_info_t) + 180 * 128] = { 0 };

#define BUILD_CHECK(x) do {char var[!!(x) - 1] __attribute__((unused));} while(0)




void _image_data_cb(lisa_vcapture_cbmsg_e msg, void *data, uint32_t len)
{
	switch (msg) {
		case VCAPTURE_START:
			LISA_LOGD(TAG, "vcapture msg VCAPTURE_START \n");
			break;
		case VCAPTURE_STOP:
			LISA_LOGD(TAG, "vcapture msg VCAPTURE_STOP \n");
			lisa_semaphore_give(s_ocr_res_sema);
			break;
		case VCAPTURE_DATA: {
		//	LISA_LOGD(TAG, "vcapture msg VCAPTURE_DATA \n");
		} break;
		case VCAPTURE_OCR:
			memset(ocr_result, 0, sizeof(ocr_result));
			LISA_LOGD(TAG, "OCR result [len: %d] %s\n", len, data);
			memcpy(ocr_result, data, len);
			break;
		default:
			LISA_LOGE(TAG, "unsupport vcapture msg\n");
			break;
	}
}

void _tts_cb(lisa_tts_cbmsg_e msg, void *data, uint32_t len)
{
	switch (msg) {
		case TTS_START:
			LISA_LOGD(TAG, "TTS_START \n");
			break;
		case TTS_PLAY_OVER:
			LISA_LOGD(TAG, "TTS_PLAY_OVER \n");
			// lisa_tts_stop(tts_handler);
			tts_done = 1;
			// lisa_tts_destroy(tts_handler);
			break;
		default:
			LISA_LOGE(TAG, "unsupport tts msg\n");
			break;
	}
}

static int _video_init()
{
	lisa_vcapture_params_t params;
	memset(&params, 0, sizeof(lisa_vcapture_params_t));

	params.use_ocr = 1;
	params.vcapturecb = _image_data_cb;
	params.log_to_file = 0;

	vcap_handler = lisa_vcapture_create(&params);
	if (vcap_handler == NULL) {
		LISA_LOGE(TAG, "[%s %d]lisa_vcapture_create FAILED!\n", __FUNCTION__, __LINE__);
		return -1;
	}

	return 0;
}
#define ONLY_OCR	(0)
void  offline_recognize_thread(void *arg)
{
	LISA_LOGI(TAG, "%s", __FUNCTION__);
	char trans_data[1024] = {0};
#if ONLY_OCR == 0
	/* create translate */
	trans_handler = lisa_translate_create();

	/* create tts */
	lisa_tts_params_t params;
	memset(&params, 0, sizeof(lisa_tts_params_t));
	params.ttscb = _tts_cb;
	tts_handler = lisa_tts_create(&params);
	LISA_LOGD(TAG, "TTS_INIT_DONE \n");
#endif
	while (true) {
		lisa_semaphore_take(s_ocr_res_sema, LISA_WAIT_FOREVER);
#if ONLY_OCR == 0
		// trans_handler = lisa_translate_create();
		memset(trans_data, 0, sizeof(trans_data));
		lisa_translate_exec(trans_handler, ocr_result, trans_data, 1024, 40000);
		// lisa_translate_destroy(trans_handler);

		atts_config_t tts_config = {
			.role 		= ivTTS_ROLE_CATHERINE,		/* default english role */
			.language	= ivTTS_LANGUAGE_AUTO,
			.speed		= ivTTS_SPEED_NORMAL,
			.volume		= ivTTS_VOLUME_NORMAL,
		};

		int ch_cnt = 0;
		int en_cnt = 0;
		for(int i = 0; i < strlen(trans_data);){
			if(trans_data[i] > 127){
				ch_cnt++;
				i += 3; /* UTF-8 encode size is 3 bytes for chinese */
			}else{
				en_cnt++;
				i++;	/* UTF-8 encode size is 1 bytes for english */
			}
		}

		LISA_LOGI(TAG, "[ch]: %d, [en]:%d", ch_cnt, en_cnt);

		/* chinese role */
		if(ch_cnt > 0){
			tts_config.role = ivTTS_ROLE_XIAOYAN;
		}

		lisa_tts_play(tts_handler, trans_data, &tts_config);

		while(!tts_done){
			k_msleep(100);
		}

		lisa_tts_stop(tts_handler);
		tts_done = 0;
		
		k_msleep(100);
#endif
	}

}

/**
 * @brief Create a ocr recognize thread object
 *
 */
void create_offline_recognize_thread()
{
	if (s_offline_recognize_thread) {
		return;
	}

	lisa_thread_attr_t thread_attr;
	thread_attr.name = "offline_recognize_thread";
	thread_attr.stack_size = 4 * 1024;
	thread_attr.priority = OS_PRIORITY_NORMAL;  // OS_PRIORITY_NORMAL

	s_offline_recognize_thread = lisa_thread_create(&thread_attr, offline_recognize_thread, NULL);
	if (s_offline_recognize_thread == NULL) {
		LISA_LOGE(TAG, "thread_create:  offline_recognize_thread failed");
		return;
	}
}

static inline char *bf30a2_frames_info_get_free(frames_info_t *info)
{
	if (info == NULL || info->ap_share.addr == NULL || info->ap_share.frame_cnt <= 0) {
		return NULL;
	}

	// SCB_InvalidateDCache_by_Addr(info, sizeof(frames_info_t));
	int r = info->cp_share.r_pos;
	int w = info->ap_share.w_pos;
	int cnt = info->ap_share.frame_cnt;
	char *addr = info->ap_share.addr;

	w %= info->ap_share.frame_cnt;

	if (w > r) {
		if ((r + cnt - w) <= 1) {
			LISA_LOGE(TAG, "No free space to copy datas, w:%d, r=%d.", w, r);
			return NULL;
		}
	} else if (w < r) {
		if (r - w <= 1) {
			LISA_LOGE(TAG, "No free space to copy datas, w:%d, r=%d.", w, r);
			return NULL;
		}
	}

	return info->ap_share.addr + w * info->ap_share.frame_size;
}

static inline int32_t bf30a2_frames_info_update_w_pos(frames_info_t *info)
{
	if (info == NULL || info->ap_share.addr == NULL || info->ap_share.frame_cnt <= 0) {
		return -1;
	}

	info->ap_share.w_pos++;
	info->ap_share.w_pos %= info->ap_share.frame_cnt;
	// SCB_CleanDCache_by_Addr(info, sizeof(frames_info_t));

	return info->ap_share.w_pos;
}

#define VIDEO_DEV DT_LABEL(DT_INST(0, byd_bf30a2))

uint32_t calc_sum(uint8_t *src, uint32_t size)
{
	uint32_t sum = 0;

	while (size--) {
		sum += (uint8_t)*src;
		src++;
	}

	return sum;
}

void video_ap2cp_thread(void *p1)
{
	struct video_buffer *vbuf = NULL;

	/*Don't change this next line,it is reserved for video share memory size 256 Bytes!!!!!!!!!!!!!!*/
	frames_info_t *info = (frames_info_t *)(CONFIG_SOF_IPC_SHM_BASE_ADDRESS + CONFIG_SOF_IPC_SHM_SIZE - 0x100);

	const struct device *video = device_get_binding(VIDEO_DEV);

	if (!device_is_ready(video)) {
		printk("ipm device is null.\n");
		return;
	}
	memset(info, 0, sizeof(frames_info_t));
	info->ap_share.addr = &swp_frames[0][0];
	info->ap_share.frame_size = 180 * 128 + sizeof(frame_info_t);
	info->ap_share.frame_cnt = 5;
	info->ap_share.w_pos = 0;
	info->cp_share.r_pos = 0;
	info->ap_share.tag = 0x12345678;

	LISA_LOGI(TAG, "##########Frames info##########");
	LISA_LOGI(TAG, "info       :%p.", info);
	LISA_LOGI(TAG, "buffer addr:%p.", info->ap_share.addr);
	LISA_LOGI(TAG, "frame  size:%u.", info->ap_share.frame_size);
	LISA_LOGI(TAG, "frame count:%d.", info->ap_share.frame_cnt);
	LISA_LOGI(TAG, "write   pos:%d.", info->ap_share.w_pos);
	LISA_LOGI(TAG, "read    pos:%d.", info->cp_share.r_pos);
	LISA_LOGI(TAG, "sizeof(frame_info_t):%d, sizeof(swap_block_ap_t):%d.", sizeof(frame_info_t), sizeof(swap_block_ap_t));

	uint32_t last_tick = 0;
	int id = 0;
	int fps = 0;
	int frame_cnt = 0;
	int discard_cnt = 0;

	BUILD_CHECK(sizeof(frames_info_t) % 32 == 0);

	while (1) {
		vbuf = NULL;
		video_dequeue(video, VIDEO_EP_OUT, &vbuf, K_FOREVER);
		frame_cnt++;
		/* send datas to cp core */
		char *buffer = bf30a2_frames_info_get_free(info);
		if (buffer != NULL) {
			if ((buffer < info->ap_share.addr) || (buffer >= (info->ap_share.addr + info->ap_share.frame_size * info->ap_share.frame_cnt))) {
				LISA_LOGI(TAG, "##########Frames info##########");
				LISA_LOGI(TAG, "info       :%p.", info);
				LISA_LOGI(TAG, "buffer addr:%p.", info->ap_share.addr);
				LISA_LOGI(TAG, "frame  size:%u.", info->ap_share.frame_size);
				LISA_LOGI(TAG, "frame count:%d.", info->ap_share.frame_cnt);
				LISA_LOGI(TAG, "write   pos:%d.", info->ap_share.w_pos);
				LISA_LOGI(TAG, "read    pos:%d.", info->cp_share.r_pos);

				LISA_LOGI(TAG, "buffer:%p.", buffer);
				k_panic();
			}
			frame_info_t *frame_info = (frame_info_t *)buffer;
			frame_info->id = id++;
			memcpy(buffer + sizeof(frame_info_t), vbuf->buffer, 180 * 128);
			frame_info->sum = calc_sum(buffer + sizeof(frame_info_t), 180 * 128);
			SCB_CleanDCache_by_Addr(buffer, info->ap_share.frame_size);
			bf30a2_frames_info_update_w_pos(info);
			fps = vbuf->timestamp - last_tick > 0 ?
				      1000 / (vbuf->timestamp - last_tick) :
				      0;
			last_tick = vbuf->timestamp;
		} else {
			discard_cnt++;
		}

		if (frame_cnt % 10 == 0) {
			LISA_LOGI(TAG, "fps:%d, T:%d, D%d.", fps, frame_cnt, discard_cnt);
		}
		video_enqueue(video, VIDEO_EP_OUT, vbuf);
	}
}

void create_cam2cp_thread()
{

	if (s_cam2cp_thread) {
		LISA_LOGE(TAG, "s_cam2cp_thread exist ");
		return;
	}
	lisa_thread_attr_t thread_attr;
	thread_attr.name = "cam2cp_thread";
	thread_attr.stack_size = 2 * 1024;
	thread_attr.priority = OS_PRIORITY_HIGHER;  // OS_PRIORITY_NORMAL

	s_cam2cp_thread = lisa_thread_create(&thread_attr, video_ap2cp_thread, NULL);
	if (s_cam2cp_thread == NULL) {
		LISA_LOGE(TAG, "thread_create:  s_cam2cp_thread failed");
		return;
	}
}

#define PEN_HEAD_BUTTON KEY1
static button_handle *pen_head_button;
static void pen_head_button_cb(BUTTON_STATE sta, void *arg)
{
	/* long button has the PRESS/RELEASE state */
	if (sta == PRESS) {
		LISA_LOGD(TAG, "send_uart_scan_start\n");
		// lisa_translate_destroy(trans_handler);
		// lisa_tts_stop(tts_handler);
		// lisa_tts_destroy(tts_handler);
		_video_init();
		lisa_vcapture_start(vcap_handler);
	} else if (sta == RELEASE) {
		lisa_vcapture_stop(vcap_handler);
		lisa_vcapture_destroy(vcap_handler);
		LISA_LOGD(TAG, "send_uart_scan_stop\n");
	}
}

void pen_head_button_exit(void)
{
	if (pen_head_button) {
		pen_head_button->stop(pen_head_button);
		/* destory buttons */
		pen_head_button->destroy(pen_head_button);
	}
}

int pen_head_button_init(void)
{
	buttons_init();
	pen_head_button = create_long_button(PEN_HEAD_BUTTON, 100);
	pen_head_button->cb = pen_head_button_cb;

	pen_head_button->start(pen_head_button);
}

void ocr_test_offline_start()
{
	pen_head_button_init();
	create_cam2cp_thread();
	s_ocr_res_sema = lisa_semaphore_create(1);
	create_offline_recognize_thread();
}
```
